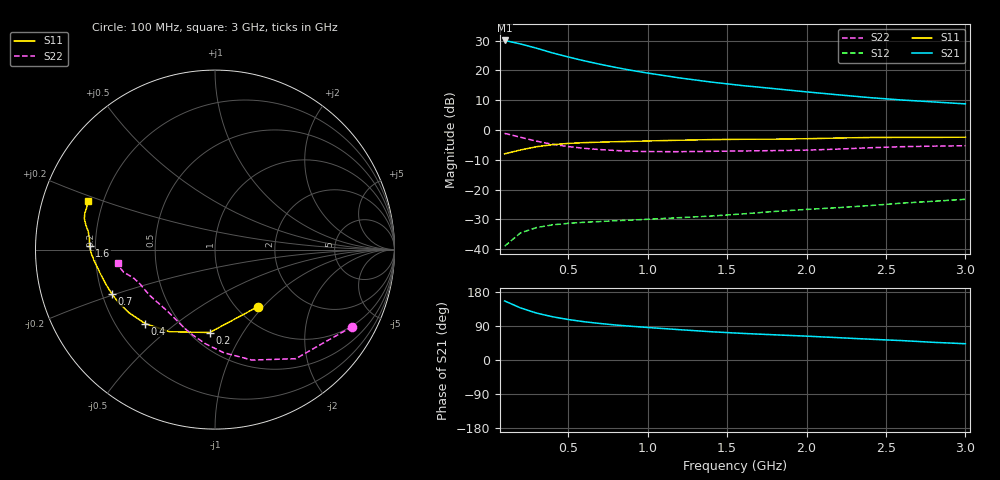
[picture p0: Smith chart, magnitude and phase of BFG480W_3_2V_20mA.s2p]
! Filename: 3_220BFG480.001
! Title: BFG480W
! Bias: Vce=3.2V; Ic=20mA
! Company: Philips Semiconductors NL
! User: Quality&Reliability T&D
! Measure time: 10 Nov 1999 / 11:56:24
#  MHz  S  MA  R 50
! Freq  S11  S21  S12  S22  :
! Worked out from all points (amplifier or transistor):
!   20 points, 100 MHz to 3 GHz, reference 50 ohm
!   highest |S21| = 30.1 dB at 100 MHz (marker M1)
!   |S21| within 3 dB of that: start of sweep to 326.3 MHz
!   unconditionally stable (mu >= 1): 1.372 GHz to end of sweep
!   at 400 MHz: K = 0.39, MSG = 28.9 dB, |S12| = -31.8 dB
!   at 1.2 GHz: K = 0.94, MSG = 23.5 dB, |S12| = -29.4 dB
!   at 3 GHz: K = 1.11, MAG = 14.0 dB, |S12| = -23.3 dB
!   S11 on the Smith chart (normalised r, x): 100 MHz: 1.24, -0.94; 200 MHz: 0.62, -0.73; 400 MHz: 0.32, -0.39; 700 MHz: 0.24, -0.19; 1.6 GHz: 0.18, +0.01; 3 GHz: 0.14, +0.18
100  0.3979 -53.0  31.83 155.9  0.01123 67.4  0.8768 -29.3
200  0.4628 -93.7  27.83 137.4  0.01878 54.6  0.756 -53.5
300  0.5236 -119.1  23.63 123.9  0.02304 46.9  0.6494 -71.5
400  0.5668 -133.4  19.72 114.3  0.02556 42.5  0.5766 -85.1
500  0.5954 -144.0  16.83 106.9  0.02712 40.3  0.527 -95.9
600  0.6131 -151.3  14.51 101.0  0.02823 39.6  0.4929 -104.3
700  0.6256 -156.9  12.69 96.3  0.0291 39.9  0.4694 -111.2
800  0.6353 -161.4  11.22 92.3  0.03002 40.9  0.4524 -117.0
900  0.6444 -165.2  9.997 88.9  0.03073 42.5  0.4411 -122.1
1000  0.6542 -168.6  9.027 85.8  0.03174 44.0  0.4344 -126.7
1200  0.6735 -174.1  7.493 80.0  0.03376 47.5  0.4327 -134.7
1400  0.6895 -178.2  6.373 74.5  0.03596 51.0  0.4389 -140.9
1600  0.6992 178.4  5.555 70.2  0.03909 54.8  0.445 -145.7
1800  0.7024 175.0  4.935 66.4  0.04292 58.3  0.451 -150.4
2000  0.7131 172.0  4.364 62.9  0.04643 61.5  0.4596 -155.4
2200  0.7337 169.0  3.895 58.9  0.04974 63.5  0.4781 -160.3
2400  0.7485 166.6  3.491 54.8  0.05386 64.9  0.5035 -163.8
2600  0.7528 164.5  3.186 51.2  0.05921 66.0  0.5249 -166.2
2800  0.7522 161.9  2.958 46.6  0.06367 66.0  0.536 -168.6
3000  0.7579 159.0  2.743 42.9  0.06871 66.5  0.5447 -172.0
